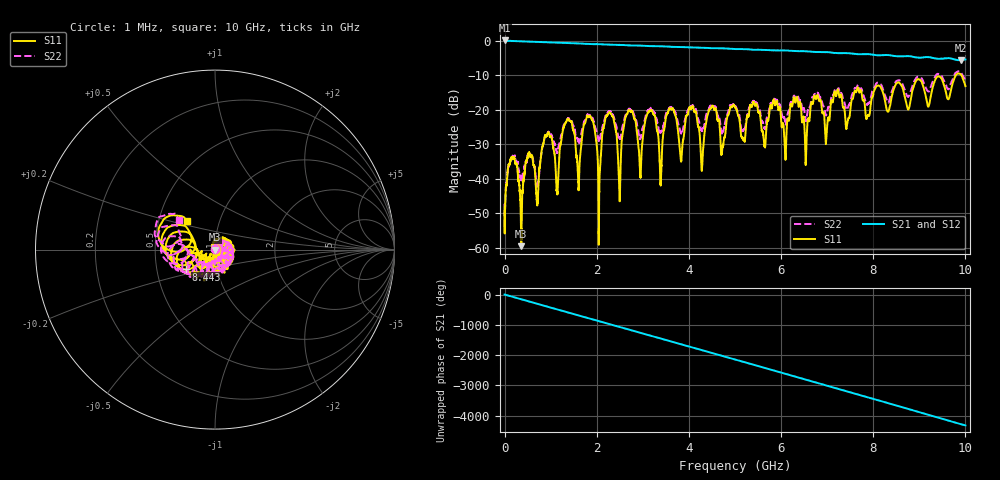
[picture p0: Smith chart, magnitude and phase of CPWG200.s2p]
! 3/21/2017 9:39:39 AM
! F:\HUSERTL_20170321\CPWG200.S2P
! CHANNEL.1
! TR.MEASUREMENT
! CORRECTED.DATA
# GHZ S RI R 50.0
! FREQ.GHZ  S11RE  S11IM  S31RE  S31IM  S13RE  S13IM  S33RE  S33IM
!; PortSelection: Port_13
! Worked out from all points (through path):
!   10000 points, 1 MHz to 10 GHz, reference 50 ohm
!   highest |S21| = 0.03 dB at 10 MHz (marker M1); lowest = -5.7 dB at 9.905 GHz (marker M2)
!   group delay of S21, straight-line fit = 1.2 ns
!   lowest |S11| = -59.6 dB at 363 MHz (marker M3), VSWR 1.00, Z = 49.9 - j0.0184 ohm
!   |S11| at or under -10 dB: start of sweep to 9.795 GHz; 9.909 GHz to end of sweep
!   |S22| runs from -54.0 to -8.9 dB; largest |S21 - S12| = 0.044
!   S11 on the Smith chart (normalised r, x): 1 MHz: 1.01, +0.00; 8.443 GHz: 0.71, -0.16; 10 GHz: 0.70, +0.23
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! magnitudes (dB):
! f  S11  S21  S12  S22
! 1 MHz  -48.2  0.0  0.0  -54.0
! 10 MHz  -49.3  0.0  0.0  -48.8
! 174 MHz  -34.3  -0.1  -0.1  -33.5
! 363 MHz  -59.6  -0.2  -0.3  -40.1
! 913 MHz  -27.7  -0.5  -0.5  -27.6
! 1.137 GHz  -43.9  -0.6  -0.7  -32.6
! 1.344 GHz  -23.4  -0.7  -0.8  -23.1
! 1.668 GHz  -30.0  -0.9  -0.9  -26.7
! 1.882 GHz  -22.6  -1.0  -1.0  -22.0
! 2.055 GHz  -43.9  -1.1  -1.1  -29.0
! 2.298 GHz  -21.1  -1.2  -1.2  -20.6
! 2.495 GHz  -45.5  -1.3  -1.3  -28.1
! 2.727 GHz  -20.5  -1.4  -1.4  -19.9
! 2.937 GHz  -37.3  -1.5  -1.5  -28.5
! 3.147 GHz  -20.4  -1.6  -1.6  -20.0
! 3.334 GHz  -27.4  -1.6  -1.7  -24.9
! 5.001 GHz  -19.3  -2.5  -2.5  -18.8
! 6.667 GHz  -17.8  -3.2  -3.3  -16.9
! 8.334 GHz  -20.4  -4.2  -4.2  -18.0
! 8.443 GHz  -14.1  -4.5  -4.5  -13.3
! 9.905 GHz  -9.9  -5.7  -5.7  -9.3
! 10 GHz  -13.2  -5.5  -5.5  -11.8
